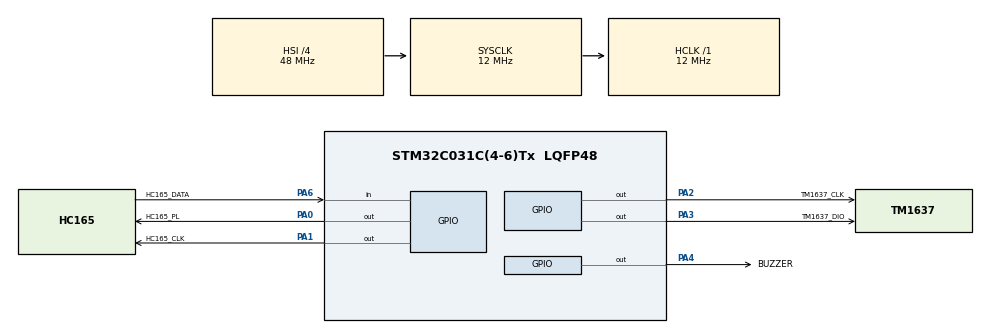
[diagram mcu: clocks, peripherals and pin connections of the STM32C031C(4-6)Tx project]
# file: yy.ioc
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Mcu.Family=STM32C0
Mcu.Name=STM32C031C(4-6)Tx
Mcu.Package=LQFP48
PA0.GPIO_Label=HC165_PL
PA0.PinState=GPIO_PIN_SET
PA0.Signal=GPIO_Output
PA1.GPIO_Label=HC165_CLK
PA1.Signal=GPIO_Output
PA13.Mode=Serial_Wire
PA13.Signal=DEBUG_SWDIO
PA14-BOOT0.Mode=Serial_Wire
PA14-BOOT0.Signal=DEBUG_SWCLK
PA2.GPIO_Label=TM1637_CLK
PA2.GPIO_ModeDefaultOutputPP=GPIO_MODE_OUTPUT_OD
PA2.GPIO_PuPd=GPIO_NOPULL
PA2.PinState=GPIO_PIN_SET
PA2.Signal=GPIO_Output
PA3.GPIO_Label=TM1637_DIO
PA3.GPIO_ModeDefaultOutputPP=GPIO_MODE_OUTPUT_OD
PA3.GPIO_PuPd=GPIO_NOPULL
PA3.PinState=GPIO_PIN_SET
PA3.Signal=GPIO_Output
PA4.GPIO_Label=BUZZER
PA4.Signal=GPIO_Output
PA6.GPIO_Label=HC165_DATA
PA6.Signal=GPIO_Input
ProjectManager.HeapSize=0x200
ProjectManager.StackSize=0x400
ProjectManager.TargetToolchain=CMake
RCC.ADCFreq_Value=12000000
RCC.AHBFreq_Value=12000000
RCC.CortexFreq_Value=12000000
RCC.EXTERNAL_CLOCK_VALUE=12288000
RCC.HCLKFreq_Value=12000000
RCC.HSE_VALUE=8000000
RCC.HSI_VALUE=48000000
RCC.LSE_VALUE=32768
RCC.SYSCLKFreq_VALUE=12000000
board=custom

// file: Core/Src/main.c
/* USER CODE BEGIN Header */
/**
  ******************************************************************************
  * @file           : main.c
  * @brief          : Main program body
  ******************************************************************************
  * @attention
  *
  * Copyright (c) 2026 STMicroelectronics.
  * All rights reserved.
  *
  * This software is licensed under terms that can be found in the LICENSE file
  * in the root directory of this software component.
  * If no LICENSE file comes with this software, it is provided AS-IS.
  *
  ******************************************************************************
  */
/* USER CODE END Header */
#include "main.h"

/* USER CODE BEGIN Includes */
#include "tm1637.h"
#include "hc165.h"
#include "cable_detector.h"
#include "buzzer.h"
/* USER CODE END Includes */

/* USER CODE BEGIN PD */
#define DETECT_ACTIVE_DEBOUNCE_MS  8U
#define DETECT_RELEASE_DEBOUNCE_MS 25U
/* USER CODE END PD */

/* USER CODE BEGIN PV */
static CableDetectResult stable_result = {
  .status = CABLE_DETECT_NONE,
  .channel = 0U,
  .active_count = 0U
};
static CableDetectResult candidate_result = {
  .status = CABLE_DETECT_NONE,
  .channel = 0U,
  .active_count = 0U
};
static uint32_t candidate_since = 0U;
/* USER CODE END PV */

void SystemClock_Config(void);
static void MX_GPIO_Init(void);

/* USER CODE BEGIN 0 */
static CableDetectResult DebounceResult(CableDetectResult new_result)
{
  if (new_result.status != candidate_result.status || new_result.channel != candidate_result.channel)
  {
    candidate_result = new_result;
    candidate_since = HAL_GetTick();
  }
  else
  {
    uint32_t elapsed = HAL_GetTick() - candidate_since;
    uint32_t debounce_time = (candidate_result.status == CABLE_DETECT_NONE) ? DETECT_RELEASE_DEBOUNCE_MS : DETECT_ACTIVE_DEBOUNCE_MS;
    if (elapsed >= debounce_time)
    {
        stable_result = candidate_result;
    }
  }
  return stable_result;
}
/* USER CODE END 0 */

int main(void)
{

  /* MCU Configuration--------------------------------------------------------*/

  /* Reset of all peripherals, Initializes the Flash interface and the Systick. */
  HAL_Init();

  /* Configure the system clock */
  SystemClock_Config();

  /* Initialize all configured peripherals */
  MX_GPIO_Init();
  /* USER CODE BEGIN 2 */
  TM1637_SetBrightness(TM1637_DUTY_14_16, TM1637_DISPLAY_ON);
  candidate_since = HAL_GetTick();
  /* USER CODE END 2 */

  /* Infinite loop */
  while (1)
  {
    /* USER CODE BEGIN 3 */
    CableDetectResult result = CableDetector_Decode(HC165_ReadRaw());
    result = DebounceResult(result);
    if (result.status == CABLE_DETECT_SINGLE)
    {
      TM1637_SetNumber(result.channel);
      Buzzer_On();
    }
    else if (result.status == CABLE_DETECT_MULTIPLE)
    {
      TM1637_SetChar(TM1637_SEG_E, TM1637_SEG_E);
      Buzzer_Off();
    }
    else
    {
      TM1637_SetChar(TM1637_SEG_MINUS, TM1637_SEG_MINUS);
      Buzzer_Off();
    }
  }
  /* USER CODE END 3 */
}

void SystemClock_Config(void)
{
  RCC_OscInitTypeDef RCC_OscInitStruct = {0};
  RCC_ClkInitTypeDef RCC_ClkInitStruct = {0};

  __HAL_FLASH_SET_LATENCY(FLASH_LATENCY_0);

  /** Initializes the RCC Oscillators according to the specified parameters
  * in the RCC_OscInitTypeDef structure.
  */
  RCC_OscInitStruct.OscillatorType = RCC_OSCILLATORTYPE_HSI;
  RCC_OscInitStruct.HSIState = RCC_HSI_ON;
  RCC_OscInitStruct.HSIDiv = RCC_HSI_DIV4;
  RCC_OscInitStruct.HSICalibrationValue = RCC_HSICALIBRATION_DEFAULT;
  if (HAL_RCC_OscConfig(&RCC_OscInitStruct) != HAL_OK)
  {
    Error_Handler();
  }

  /** Initializes the CPU, AHB and APB buses clocks
  */
  RCC_ClkInitStruct.ClockType = RCC_CLOCKTYPE_HCLK|RCC_CLOCKTYPE_SYSCLK
                              |RCC_CLOCKTYPE_PCLK1;
  RCC_ClkInitStruct.SYSCLKSource = RCC_SYSCLKSOURCE_HSI;
  RCC_ClkInitStruct.SYSCLKDivider = RCC_SYSCLK_DIV1;
  RCC_ClkInitStruct.AHBCLKDivider = RCC_HCLK_DIV1;
  RCC_ClkInitStruct.APB1CLKDivider = RCC_APB1_DIV1;

  if (HAL_RCC_ClockConfig(&RCC_ClkInitStruct, FLASH_LATENCY_0) != HAL_OK)
  {
    Error_Handler();
  }
}

static void MX_GPIO_Init(void)
{
  GPIO_InitTypeDef GPIO_InitStruct = {0};

  /* GPIO Ports Clock Enable */
  __HAL_RCC_GPIOA_CLK_ENABLE();

  /*Configure GPIO pin Output Level */
  HAL_GPIO_WritePin(GPIOA, HC165_PL_Pin|TM1637_CLK_Pin|TM1637_DIO_Pin, GPIO_PIN_SET);

  /*Configure GPIO pin Output Level */
  HAL_GPIO_WritePin(GPIOA, HC165_CLK_Pin|BUZZER_Pin, GPIO_PIN_RESET);

  /*Configure GPIO pins : HC165_PL_Pin HC165_CLK_Pin BUZZER_Pin */
  GPIO_InitStruct.Pin = HC165_PL_Pin|HC165_CLK_Pin|BUZZER_Pin;
  GPIO_InitStruct.Mode = GPIO_MODE_OUTPUT_PP;
  GPIO_InitStruct.Pull = GPIO_NOPULL;
  GPIO_InitStruct.Speed = GPIO_SPEED_FREQ_LOW;
  HAL_GPIO_Init(GPIOA, &GPIO_InitStruct);

  /*Configure GPIO pins : TM1637_CLK_Pin TM1637_DIO_Pin */
  GPIO_InitStruct.Pin = TM1637_CLK_Pin|TM1637_DIO_Pin;
  GPIO_InitStruct.Mode = GPIO_MODE_OUTPUT_OD;
  GPIO_InitStruct.Pull = GPIO_NOPULL;
  GPIO_InitStruct.Speed = GPIO_SPEED_FREQ_LOW;
  HAL_GPIO_Init(GPIOA, &GPIO_InitStruct);

  /*Configure GPIO pin : HC165_DATA_Pin */
  GPIO_InitStruct.Pin = HC165_DATA_Pin;
  GPIO_InitStruct.Mode = GPIO_MODE_INPUT;
  GPIO_InitStruct.Pull = GPIO_NOPULL;
  HAL_GPIO_Init(HC165_DATA_GPIO_Port, &GPIO_InitStruct);

}

void Error_Handler(void)
{
  __disable_irq();
  while (1)
  {
  }
}
